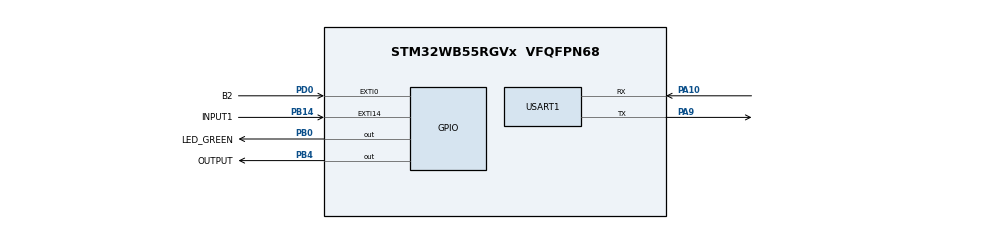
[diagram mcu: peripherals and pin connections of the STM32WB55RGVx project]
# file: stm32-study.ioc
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Dma.Request0=USART1_RX
Dma.Request1=USART1_TX
Dma.USART1_RX.0.Direction=DMA_PERIPH_TO_MEMORY
Dma.USART1_RX.0.EventEnable=DISABLE
Dma.USART1_RX.0.Instance=DMA1_Channel1
Dma.USART1_RX.0.MemDataAlignment=DMA_MDATAALIGN_BYTE
Dma.USART1_RX.0.MemInc=DMA_MINC_ENABLE
Dma.USART1_RX.0.Mode=DMA_CIRCULAR
Dma.USART1_RX.0.PeriphDataAlignment=DMA_PDATAALIGN_BYTE
Dma.USART1_RX.0.PeriphInc=DMA_PINC_DISABLE
Dma.USART1_RX.0.Polarity=HAL_DMAMUX_REQ_GEN_RISING
Dma.USART1_RX.0.Priority=DMA_PRIORITY_LOW
Dma.USART1_RX.0.RequestNumber=1
Dma.USART1_RX.0.SignalID=NONE
Dma.USART1_RX.0.SyncEnable=DISABLE
Dma.USART1_RX.0.SyncPolarity=HAL_DMAMUX_SYNC_NO_EVENT
Dma.USART1_RX.0.SyncRequestNumber=1
Dma.USART1_RX.0.SyncSignalID=NONE
Dma.USART1_TX.1.Direction=DMA_MEMORY_TO_PERIPH
Dma.USART1_TX.1.EventEnable=DISABLE
Dma.USART1_TX.1.Instance=DMA1_Channel2
Dma.USART1_TX.1.MemDataAlignment=DMA_MDATAALIGN_BYTE
Dma.USART1_TX.1.MemInc=DMA_MINC_ENABLE
Dma.USART1_TX.1.Mode=DMA_NORMAL
Dma.USART1_TX.1.PeriphDataAlignment=DMA_PDATAALIGN_BYTE
Dma.USART1_TX.1.PeriphInc=DMA_PINC_DISABLE
Dma.USART1_TX.1.Polarity=HAL_DMAMUX_REQ_GEN_RISING
Dma.USART1_TX.1.Priority=DMA_PRIORITY_LOW
Dma.USART1_TX.1.RequestNumber=1
Dma.USART1_TX.1.SignalID=NONE
Dma.USART1_TX.1.SyncEnable=DISABLE
Dma.USART1_TX.1.SyncPolarity=HAL_DMAMUX_SYNC_NO_EVENT
Dma.USART1_TX.1.SyncRequestNumber=1
Dma.USART1_TX.1.SyncSignalID=NONE
Mcu.Family=STM32WB
Mcu.Name=STM32WB55RGVx
Mcu.Package=VFQFPN68
NVIC.DMA1_Channel1_IRQn=true\:0\:0\:false\:false\:true\:false\:true\:true
NVIC.DMA1_Channel2_IRQn=true\:0\:0\:false\:false\:true\:false\:true\:true
NVIC.EXTI0_IRQn=true\:0\:0\:false\:false\:true\:true\:true\:true
NVIC.EXTI15_10_IRQn=true\:0\:0\:false\:false\:true\:true\:true\:true
NVIC.PriorityGroup=NVIC_PRIORITYGROUP_4
NVIC.USART1_IRQn=true\:0\:0\:false\:false\:true\:true\:true\:true
PA10.Mode=Asynchronous
PA10.Signal=USART1_RX
PA9.Mode=Asynchronous
PA9.Signal=USART1_TX
PB0.GPIO_Label=LED_GREEN
PB0.Signal=GPIO_Output
PB14.GPIO_Label=INPUT1
PB14.GPIO_ModeDefaultEXTI=GPIO_MODE_IT_RISING_FALLING
PB14.GPIO_PuPd=GPIO_PULLUP
PB14.Signal=GPXTI14
PB4.GPIO_Label=OUTPUT
PB4.GPIO_PuPd=GPIO_PULLDOWN
PB4.Signal=GPIO_Output
PD0.GPIO_Label=B2
PD0.GPIO_PuPd=GPIO_PULLUP
PD0.Signal=GPXTI0
ProjectManager.HeapSize=0x200
ProjectManager.StackSize=0x400
ProjectManager.TargetToolchain=EWARM V9.20
RCC.ADCFreq_Value=48000000
RCC.AHB2CLKDivider=RCC_SYSCLK_DIV2
RCC.AHBFreq_Value=64000000
RCC.APB1Freq_Value=64000000
RCC.APB1TimFreq_Value=64000000
RCC.APB2Freq_Value=64000000
RCC.APB2TimFreq_Value=64000000
RCC.APB3Freq_Value=16000000
RCC.Cortex2_Div=SYSTICK_CLKSOURCE_HCLK_DIV8
RCC.CortexFreq_Value=64000000
RCC.HCLKFreq_Value=64000000
RCC.HSE_VALUE=8000000
RCC.HSI48_VALUE=48000000
RCC.HSI_VALUE=16000000
RCC.LSE_VALUE=32768
RCC.PLLN=32
RCC.PLLSAI1N=24
RCC.SYSCLKFreq_VALUE=64000000
RCC.SYSCLKSource=RCC_SYSCLKSOURCE_PLLCLK
RCC.USBFreq_Value=48000000
RCC.VCOOutputFreq_Value=128000000
USART1.VirtualMode-Asynchronous=VM_ASYNC
VP_MEMORYMAP_VS_MEMORYMAP.Mode=CurAppReg
board=custom

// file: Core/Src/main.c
/* USER CODE BEGIN Header */
/**
  ******************************************************************************
  * @file           : main.c
  * @brief          : Main program body
  ******************************************************************************
  * @attention
  *
  * Copyright (c) 2023 STMicroelectronics.
  * All rights reserved.
  *
  * This software is licensed under terms that can be found in the LICENSE file
  * in the root directory of this software component.
  * If no LICENSE file comes with this software, it is provided AS-IS.
  *
  ******************************************************************************
  */
/* USER CODE END Header */
#include "main.h"

/* USER CODE BEGIN Includes */
#include <stdio.h>

/* USER CODE END Includes */

UART_HandleTypeDef huart1;
DMA_HandleTypeDef hdma_usart1_rx;
DMA_HandleTypeDef hdma_usart1_tx;

/* USER CODE BEGIN PV */

const int MEASURE_CYCLE = 100;
int led_state_change_count = 0;

GPIO_PinState pre_pin_state;
GPIO_PinState temp_pin_state;
GPIO_PinState current_pin_state;

int callback_start = 0;
int callback_end = 0;

int current_time = 0;
int pre_time = 0;

const int DEBOUNCE_TIME = 30;
int bounce_count = 0;
int switch_detecting = 1;

/* USER CODE END PV */

void SystemClock_Config(void);
void PeriphCommonClock_Config(void);
static void MX_GPIO_Init(void);
static void MX_DMA_Init(void);
static void MX_MEMORYMAP_Init(void);
static void MX_USART1_UART_Init(void);

/* USER CODE BEGIN 0 */

void HAL_GPIO_EXTI_Callback(uint16_t GPIO_Pin) {

  bounce_count++;
  current_pin_state = HAL_GPIO_ReadPin(INPUT1_GPIO_Port, INPUT1_Pin);
  if(switch_detecting && current_pin_state != pre_pin_state) {
    switch_detecting = 0;
    pre_time = current_time;
  }

}

/* USER CODE END 0 */

int main(void)
{

  /* MCU Configuration--------------------------------------------------------*/

  /* Reset of all peripherals, Initializes the Flash interface and the Systick. */
  HAL_Init();

  /* Configure the system clock */
  SystemClock_Config();

/* Configure the peripherals common clocks */
  PeriphCommonClock_Config();

  /* Initialize all configured peripherals */
  MX_GPIO_Init();
  MX_DMA_Init();
  MX_MEMORYMAP_Init();
  MX_USART1_UART_Init();
  /* USER CODE BEGIN 2 */
  //HAL_GPIO_ReadPin(EXTI_PIN_GPIO_Port, EXTI_PIN_Pin);

  HAL_GPIO_WritePin(OUTPUT_GPIO_Port, OUTPUT_Pin, GPIO_PIN_SET);
  /* USER CODE END 2 */

  /* Infinite loop */
  /* USER CODE BEGIN WHILE */
  while (1)
  {
    current_time = HAL_GetTick();

    if(!switch_detecting && current_time - pre_time > DEBOUNCE_TIME) {
      if(current_pin_state == GPIO_PIN_SET){
        HAL_GPIO_WritePin(LED_GREEN_GPIO_Port, LED_GREEN_Pin, GPIO_PIN_SET);
      }else if(current_pin_state == GPIO_PIN_RESET){
        HAL_GPIO_WritePin(LED_GREEN_GPIO_Port, LED_GREEN_Pin, GPIO_PIN_RESET);
      }
      pre_pin_state = current_pin_state;
      led_state_change_count++;
      switch_detecting = 1;

    }
  }

    /* USER CODE END WHILE */

}

void SystemClock_Config(void)
{
  RCC_OscInitTypeDef RCC_OscInitStruct = {0};
  RCC_ClkInitTypeDef RCC_ClkInitStruct = {0};

  /** Configure the main internal regulator output voltage
  */
  __HAL_PWR_VOLTAGESCALING_CONFIG(PWR_REGULATOR_VOLTAGE_SCALE1);

  /** Initializes the RCC Oscillators according to the specified parameters
  * in the RCC_OscInitTypeDef structure.
  */
  RCC_OscInitStruct.OscillatorType = RCC_OSCILLATORTYPE_HSI|RCC_OSCILLATORTYPE_MSI;
  RCC_OscInitStruct.HSIState = RCC_HSI_ON;
  RCC_OscInitStruct.MSIState = RCC_MSI_ON;
  RCC_OscInitStruct.HSICalibrationValue = RCC_HSICALIBRATION_DEFAULT;
  RCC_OscInitStruct.MSICalibrationValue = RCC_MSICALIBRATION_DEFAULT;
  RCC_OscInitStruct.MSIClockRange = RCC_MSIRANGE_6;
  RCC_OscInitStruct.PLL.PLLState = RCC_PLL_ON;
  RCC_OscInitStruct.PLL.PLLSource = RCC_PLLSOURCE_MSI;
  RCC_OscInitStruct.PLL.PLLM = RCC_PLLM_DIV1;
  RCC_OscInitStruct.PLL.PLLN = 32;
  RCC_OscInitStruct.PLL.PLLP = RCC_PLLP_DIV2;
  RCC_OscInitStruct.PLL.PLLR = RCC_PLLR_DIV2;
  RCC_OscInitStruct.PLL.PLLQ = RCC_PLLQ_DIV2;
  if (HAL_RCC_OscConfig(&RCC_OscInitStruct) != HAL_OK)
  {
    Error_Handler();
  }

  /** Configure the SYSCLKSource, HCLK, PCLK1 and PCLK2 clocks dividers
  */
  RCC_ClkInitStruct.ClockType = RCC_CLOCKTYPE_HCLK4|RCC_CLOCKTYPE_HCLK2
                              |RCC_CLOCKTYPE_HCLK|RCC_CLOCKTYPE_SYSCLK
                              |RCC_CLOCKTYPE_PCLK1|RCC_CLOCKTYPE_PCLK2;
  RCC_ClkInitStruct.SYSCLKSource = RCC_SYSCLKSOURCE_PLLCLK;
  RCC_ClkInitStruct.AHBCLKDivider = RCC_SYSCLK_DIV1;
  RCC_ClkInitStruct.APB1CLKDivider = RCC_HCLK_DIV1;
  RCC_ClkInitStruct.APB2CLKDivider = RCC_HCLK_DIV1;
  RCC_ClkInitStruct.AHBCLK2Divider = RCC_SYSCLK_DIV2;
  RCC_ClkInitStruct.AHBCLK4Divider = RCC_SYSCLK_DIV1;

  if (HAL_RCC_ClockConfig(&RCC_ClkInitStruct, FLASH_LATENCY_3) != HAL_OK)
  {
    Error_Handler();
  }
}

void PeriphCommonClock_Config(void)
{
  RCC_PeriphCLKInitTypeDef PeriphClkInitStruct = {0};

  /** Initializes the peripherals clock
  */
  PeriphClkInitStruct.PeriphClockSelection = RCC_PERIPHCLK_SMPS;
  PeriphClkInitStruct.SmpsClockSelection = RCC_SMPSCLKSOURCE_HSI;
  PeriphClkInitStruct.SmpsDivSelection = RCC_SMPSCLKDIV_RANGE1;

  if (HAL_RCCEx_PeriphCLKConfig(&PeriphClkInitStruct) != HAL_OK)
  {
    Error_Handler();
  }
}

static void MX_MEMORYMAP_Init(void)
{

}

static void MX_USART1_UART_Init(void)
{

  huart1.Instance = USART1;
  huart1.Init.BaudRate = 115200;
  huart1.Init.WordLength = UART_WORDLENGTH_8B;
  huart1.Init.StopBits = UART_STOPBITS_1;
  huart1.Init.Parity = UART_PARITY_NONE;
  huart1.Init.Mode = UART_MODE_TX_RX;
  huart1.Init.HwFlowCtl = UART_HWCONTROL_NONE;
  huart1.Init.OverSampling = UART_OVERSAMPLING_16;
  huart1.Init.OneBitSampling = UART_ONE_BIT_SAMPLE_DISABLE;
  huart1.Init.ClockPrescaler = UART_PRESCALER_DIV1;
  huart1.AdvancedInit.AdvFeatureInit = UART_ADVFEATURE_NO_INIT;
  if (HAL_UART_Init(&huart1) != HAL_OK)
  {
    Error_Handler();
  }
  if (HAL_UARTEx_SetTxFifoThreshold(&huart1, UART_TXFIFO_THRESHOLD_1_8) != HAL_OK)
  {
    Error_Handler();
  }
  if (HAL_UARTEx_SetRxFifoThreshold(&huart1, UART_RXFIFO_THRESHOLD_1_8) != HAL_OK)
  {
    Error_Handler();
  }
  if (HAL_UARTEx_DisableFifoMode(&huart1) != HAL_OK)
  {
    Error_Handler();
  }

}

static void MX_DMA_Init(void)
{

  /* DMA controller clock enable */
  __HAL_RCC_DMAMUX1_CLK_ENABLE();
  __HAL_RCC_DMA1_CLK_ENABLE();

  /* DMA interrupt init */
  /* DMA1_Channel1_IRQn interrupt configuration */
  HAL_NVIC_SetPriority(DMA1_Channel1_IRQn, 0, 0);
  HAL_NVIC_EnableIRQ(DMA1_Channel1_IRQn);
  /* DMA1_Channel2_IRQn interrupt configuration */
  HAL_NVIC_SetPriority(DMA1_Channel2_IRQn, 0, 0);
  HAL_NVIC_EnableIRQ(DMA1_Channel2_IRQn);

}

static void MX_GPIO_Init(void)
{
  GPIO_InitTypeDef GPIO_InitStruct = {0};

  /* GPIO Ports Clock Enable */
  __HAL_RCC_GPIOA_CLK_ENABLE();
  __HAL_RCC_GPIOB_CLK_ENABLE();
  __HAL_RCC_GPIOD_CLK_ENABLE();

  /*Configure GPIO pin Output Level */
  HAL_GPIO_WritePin(GPIOB, LED_GREEN_Pin|OUTPUT_Pin, GPIO_PIN_RESET);

  /*Configure GPIO pin : LED_GREEN_Pin */
  GPIO_InitStruct.Pin = LED_GREEN_Pin;
  GPIO_InitStruct.Mode = GPIO_MODE_OUTPUT_PP;
  GPIO_InitStruct.Pull = GPIO_NOPULL;
  GPIO_InitStruct.Speed = GPIO_SPEED_FREQ_LOW;
  HAL_GPIO_Init(LED_GREEN_GPIO_Port, &GPIO_InitStruct);

  /*Configure GPIO pin : INPUT1_Pin */
  GPIO_InitStruct.Pin = INPUT1_Pin;
  GPIO_InitStruct.Mode = GPIO_MODE_IT_RISING_FALLING;
  GPIO_InitStruct.Pull = GPIO_PULLUP;
  HAL_GPIO_Init(INPUT1_GPIO_Port, &GPIO_InitStruct);

  /*Configure GPIO pin : B2_Pin */
  GPIO_InitStruct.Pin = B2_Pin;
  GPIO_InitStruct.Mode = GPIO_MODE_IT_RISING;
  GPIO_InitStruct.Pull = GPIO_PULLUP;
  HAL_GPIO_Init(B2_GPIO_Port, &GPIO_InitStruct);

  /*Configure GPIO pin : OUTPUT_Pin */
  GPIO_InitStruct.Pin = OUTPUT_Pin;
  GPIO_InitStruct.Mode = GPIO_MODE_OUTPUT_PP;
  GPIO_InitStruct.Pull = GPIO_PULLDOWN;
  GPIO_InitStruct.Speed = GPIO_SPEED_FREQ_LOW;
  HAL_GPIO_Init(OUTPUT_GPIO_Port, &GPIO_InitStruct);

  /* EXTI interrupt init*/
  HAL_NVIC_SetPriority(EXTI0_IRQn, 0, 0);
  HAL_NVIC_EnableIRQ(EXTI0_IRQn);

  HAL_NVIC_SetPriority(EXTI15_10_IRQn, 0, 0);
  HAL_NVIC_EnableIRQ(EXTI15_10_IRQn);

}

void Error_Handler(void)
{
  __disable_irq();
  while (1)
  {
  }
}
